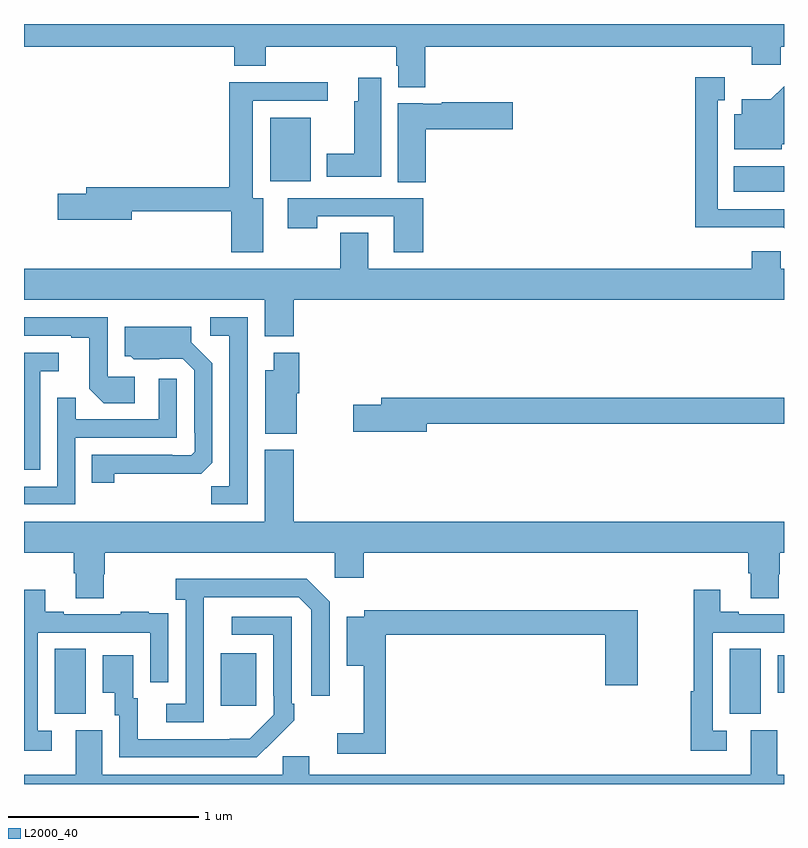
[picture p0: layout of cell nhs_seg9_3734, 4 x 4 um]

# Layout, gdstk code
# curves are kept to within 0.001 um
import gdstk
lib = gdstk.Library(unit=1e-6, precision=1e-09)
def R(c, l, rs):  # rectangles x0, y0, x1, y1
    for r in rs: c.add(gdstk.rectangle(r[:2], r[2:], *l))
def P(c, l, *ps):  # polygons
    for p in ps: c.add(gdstk.Polygon(p, *l))
L2000_40 = (2000, 40)

nhs_seg9_3734 = lib.new_cell('nhs_seg9_3734')
R(nhs_seg9_3734, L2000_40, [(323.162,1232.869,323.326,1233.212), (326.714,1232.869,326.878,1233.212), (324.035,1232.913,324.223,1233.187), (326.966,1232.981,327,1233.178), (326.735,1235.618,327,1235.752), (324.296,1235.672,324.508,1236.007)])
P(nhs_seg9_3734, L2000_40, [(325.112,1236.38),(326.831,1236.38),(326.831,1236.285),(326.982,1236.285),(326.982,1236.38),(327,1236.38),(327,1236.5),(323,1236.5),(323,1236.38),(324.107,1236.38),(324.107,1236.281),(324.272,1236.281),(324.272,1236.38),(324.959,1236.38),(324.959,1236.279),(324.971,1236.279),(324.971,1236.167),(325.112,1236.167)],
  [(327,1235.526),(326.65,1235.526),(326.65,1236.099),(326.689,1236.099),(326.689,1236.22),(326.532,1236.22),(326.532,1235.429),(326.772,1235.429),(326.772,1235.43),(326.994,1235.43),(327,1235.424)],
  [(324.88,1236.217),(324.758,1236.217),(324.758,1236.093),(324.737,1236.093),(324.737,1235.818),(324.593,1235.818),(324.593,1235.696),(324.88,1235.696)],
  [(324.259,1235.584),(324.205,1235.584),(324.205,1236.096),(324.598,1236.096),(324.598,1236.194),(324.08,1236.194),(324.08,1235.642),(323.327,1235.642),(323.327,1235.606),(323.178,1235.606),(323.178,1235.471),(323.566,1235.471),(323.566,1235.514),(324.092,1235.514),(324.092,1235.298),(324.259,1235.298)],
  [(326.988,1235.867),(327,1235.867),(327,1236.173),(326.929,1236.103),(326.777,1236.103),(326.777,1236.025),(326.738,1236.025),(326.738,1235.84),(326.988,1235.84)],
  [(325.115,1235.945),(325.573,1235.945),(325.573,1236.087),(325.198,1236.087),(325.198,1236.079),(325.098,1236.079),(325.098,1236.082),(324.968,1236.082),(324.968,1235.668),(325.115,1235.668)],
  [(325.1,1235.583),(324.387,1235.583),(324.387,1235.424),(324.543,1235.424),(324.543,1235.487),(324.947,1235.487),(324.947,1235.298),(325.1,1235.298)],
  [(324.419,1235.048),(327,1235.048),(327,1235.212),(326.982,1235.212),(326.982,1235.305),(326.831,1235.305),(326.831,1235.212),(324.811,1235.212),(324.811,1235.402),(324.664,1235.402),(324.664,1235.212),(323,1235.212),(323,1235.048),(324.266,1235.048),(324.266,1234.856),(324.419,1234.856)],
  [(324.177,1234.956),(323.979,1234.956),(323.979,1234.86),(324.081,1234.86),(324.081,1234.067),(323.986,1234.067),(323.986,1233.972),(324.177,1233.972)],
  [(323.584,1234.644),(323.442,1234.644),(323.442,1234.956),(323,1234.956),(323,1234.86),(323.249,1234.86),(323.249,1234.848),(323.343,1234.848),(323.343,1234.58),(323.419,1234.504),(323.584,1234.504)],
  [(323.475,1234.132),(323.932,1234.133),(323.991,1234.192),(323.991,1234.714),(323.881,1234.824),(323.881,1234.906),(323.531,1234.906),(323.531,1234.752),(323.562,1234.752),(323.578,1234.736),(323.835,1234.737),(323.895,1234.677),(323.895,1234.348),(323.898,1234.348),(323.898,1234.248),(323.88,1234.23),(323.78,1234.23),(323.78,1234.233),(323.356,1234.233),(323.356,1234.086),(323.475,1234.086)],
  [(324.436,1234.557),(324.449,1234.557),(324.449,1234.771),(324.314,1234.771),(324.314,1234.678),(324.269,1234.678),(324.269,1234.343),(324.436,1234.343)],
  [(323.085,1234.673),(323.182,1234.673),(323.182,1234.77),(323,1234.77),(323,1234.153),(323.085,1234.153)],
  [(323.271,1234.323),(323.805,1234.323),(323.805,1234.633),(323.709,1234.633),(323.709,1234.419),(323.273,1234.419),(323.273,1234.532),(323.175,1234.532),(323.175,1234.065),(323,1234.065),(323,1233.972),(323.271,1233.972)],
  [(325.12,1234.396),(327,1234.396),(327,1234.532),(324.881,1234.532),(324.881,1234.496),(324.732,1234.496),(324.732,1234.354),(325.12,1234.354)],
  [(323.421,1233.603),(323.426,1233.603),(323.426,1233.716),(324.636,1233.716),(324.636,1233.585),(324.788,1233.585),(324.788,1233.716),(326.813,1233.716),(326.813,1233.61),(326.825,1233.61),(326.825,1233.478),(326.973,1233.478),(326.973,1233.603),(326.978,1233.603),(326.978,1233.716),(327,1233.716),(327,1233.88),(324.419,1233.88),(324.419,1234.258),(324.266,1234.258),(324.266,1233.88),(323,1233.88),(323,1233.716),(323.261,1233.716),(323.261,1233.61),(323.273,1233.61),(323.273,1233.478),(323.421,1233.478)],
  [(323.946,1233.283),(323.947,1233.483),(324.447,1233.483),(324.513,1233.417),(324.513,1232.964),(324.609,1232.964),(324.609,1233.459),(324.488,1233.58),(323.799,1233.58),(323.799,1233.47),(323.85,1233.47),(323.85,1232.922),(323.748,1232.922),(323.748,1232.826),(323.946,1232.826)],
  [(323.146,1232.781),(323.073,1232.781),(323.073,1233.297),(323.664,1233.297),(323.664,1233.036),(323.76,1233.036),(323.76,1233.29),(323.759,1233.29),(323.759,1233.399),(323.657,1233.399),(323.657,1233.406),(323.509,1233.406),(323.509,1233.393),(323.209,1233.393),(323.209,1233.406),(323.113,1233.406),(323.113,1233.523),(323,1233.523),(323,1232.676),(323.146,1232.676)],
  [(326.698,1232.781),(326.625,1232.781),(326.625,1233.297),(327,1233.297),(327,1233.393),(326.761,1233.393),(326.761,1233.406),(326.665,1233.406),(326.665,1233.523),(326.524,1233.523),(326.524,1232.988),(326.509,1232.988),(326.509,1232.676),(326.698,1232.676)],
  [(324.905,1233.286),(326.06,1233.286),(326.06,1233.021),(326.23,1233.021),(326.23,1233.415),(324.792,1233.415),(324.792,1233.379),(324.698,1233.379),(324.698,1233.122),(324.788,1233.122),(324.788,1232.767),(324.648,1232.767),(324.648,1232.658),(324.905,1232.658)],
  [(324.317,1232.731),(324.318,1232.73),(324.423,1232.835),(324.423,1232.923),(324.408,1232.923),(324.408,1233.381),(324.093,1233.381),(324.093,1233.285),(324.312,1233.285),(324.312,1232.965),(324.315,1232.965),(324.315,1232.865),(324.187,1232.737),(323.599,1232.736),(323.599,1232.952),(323.575,1232.952),(323.575,1233.178),(323.414,1233.178),(323.414,1232.981),(323.477,1232.981),(323.477,1232.862),(323.502,1232.862),(323.502,1232.64),(324.226,1232.64)],
  [(327,1232.548),(326.965,1232.548),(326.965,1232.784),(326.825,1232.784),(326.825,1232.548),(324.502,1232.548),(324.502,1232.646),(324.363,1232.646),(324.363,1232.548),(323.413,1232.548),(323.413,1232.784),(323.273,1232.784),(323.273,1232.548),(323,1232.548),(323,1232.5),(327,1232.5)])

lib.write_gds('nhs_seg9_3734.gds')
